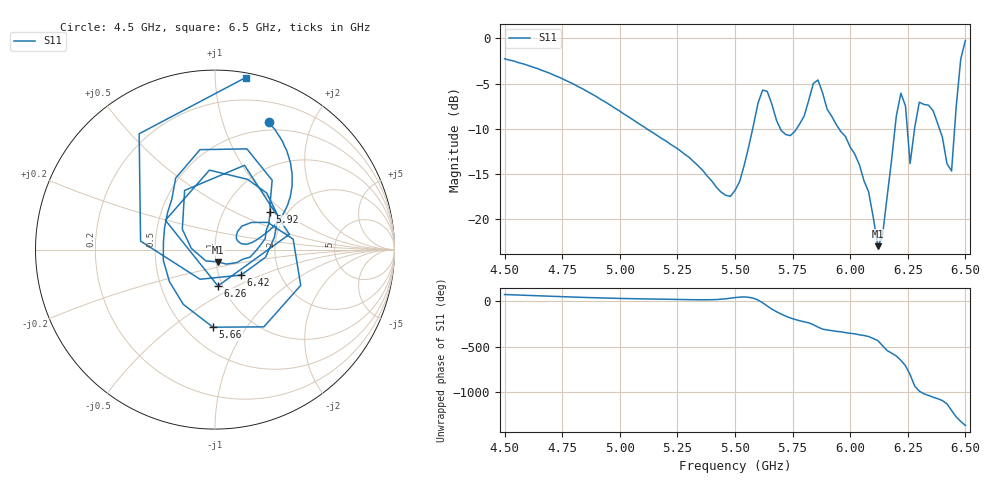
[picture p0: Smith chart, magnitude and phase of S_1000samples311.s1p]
! TOUCHSTONE file generated by CST MICROWAVE STUDIO
! Date and time: Thu Oct 27 17:41:24 2022
! Project name: L.cst
! Parameters = {Di=1.27; Epsilon_r=1.56; InnerDiameter=1.27; Length=2; Lf=10; Lg=60; OuterConductorThickness=0.2921; OuterDiameter=3.6; Wf=3; Wp=41.2; de=1.5; df=6.8; g=0.8; gx=0.792374; gy=2.43801; h=2.34; hf=1.524; px=10.8794; py=14.7476; w=9.7; wx=10.087; wy=12.3096}
! Header version: 2018
! Port assignment regex: !\s*Touchstone port\s*([0-9]+)\s*=\s*(CST MWS port|CST DS port)\s*([0-9]+|Zmin|Zmax)\s*\(\"(.*)\"\)(\s*mode\s*([0-9]+))?.*
! Touchstone port assignment:
! Touchstone port 1 = CST MWS port 1 ("")
# GHz S DB R 50
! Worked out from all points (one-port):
!   101 points, 4.5 GHz to 6.5 GHz, reference 50 ohm
!   lowest |S11| = -23.0 dB at 6.12 GHz (marker M1), VSWR 1.15, Z = 51.3 - j7.1 ohm
!   |S11| at or under -10 dB: 5.117 GHz to 5.577 GHz (459.6 MHz wide, 8.6 % of centre); 5.697 GHz to 5.767 GHz (69.72 MHz wide, 1.22 % of centre); 5.952 GHz to 6.194 GHz (242.5 MHz wide, 3.99 % of centre) (the widest 3 of 5)
!   S11 on the Smith chart (normalised r, x): 4.5 GHz: 0.41, +1.43; 5.66 GHz: 0.67, -0.72; 5.92 GHz: 1.65, +0.79; 6.26 GHz: 0.95, -0.40; 6.42 GHz: 1.28, -0.38; 6.5 GHz: 0.03, +1.19
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4.5  -2.26 67.2
4.76  -4.58 43.2
5  -8.04 24.9
5.26  -12.37 13.3
5.5  -16.81 34.0
5.58  -9.61 27.2
5.62  -5.72 -22.6
5.66  -7.28 -91.5
5.7  -10.16 -144.8
5.76  -10.27 156.4
5.84  -4.99 98.5
5.88  -6.01 50.5
5.92  -8.62 34.1
6  -12.02 4.7
6.12  -22.96 -75.4
6.16  -17.56 177.0
6.2  -8.62 117.2
6.22  -6.06 70.7
6.24  -7.48 11.6
6.26  -13.84 -85.4
6.28  -9.87 149.4
6.3  -7.05 94.0
6.36  -8.00 27.7
6.42  -13.84 -44.3
6.44  -14.66 -116.7
6.46  -7.59 173.5
6.48  -2.25 123.2
6.5  -0.24 79.9
